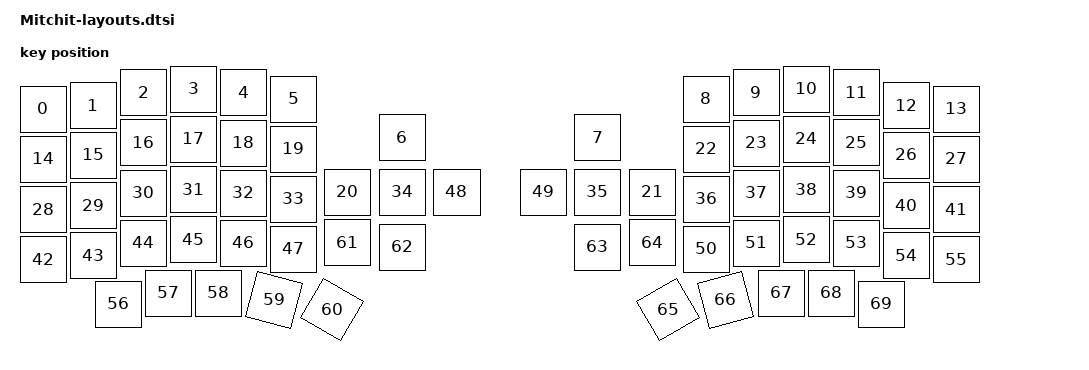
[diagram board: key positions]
#include <physical_layouts.dtsi>

/ {
    physical_layout: physical_layout_0 {
        compatible = "zmk,physical-layout";
        display-name = "Mitchit";

        // kscan = <&kscan0>;
        // transform = <&matrix_transform0>;

        studio-config {
        compatible = "zmk,studio-config";
        };

        keys  //                     w   h    x    y     rot    rx    ry
            = <&key_physical_attrs 100 100    0   40       0     0     0>
            , <&key_physical_attrs 100 100  100   33       0     0     0>
            , <&key_physical_attrs 100 100  201    7       0     0     0>
            , <&key_physical_attrs 100 100  301    0       0     0     0>
            , <&key_physical_attrs 100 100  401    7       0     0     0>
            , <&key_physical_attrs 100 100  501   20       0     0     0>
            , <&key_physical_attrs 100 100  718   97       0     0     0>
            , <&key_physical_attrs 100 100 1109   97       0     0     0>
            , <&key_physical_attrs 100 100 1326   20       0     0     0>
            , <&key_physical_attrs 100 100 1426    7       0     0     0>
            , <&key_physical_attrs 100 100 1527    0       0     0     0>
            , <&key_physical_attrs 100 100 1627    7       0     0     0>
            , <&key_physical_attrs 100 100 1727   33       0     0     0>
            , <&key_physical_attrs 100 100 1827   40       0     0     0>
            , <&key_physical_attrs 100 100    0  140       0     0     0>
            , <&key_physical_attrs 100 100  100  132       0     0     0>
            , <&key_physical_attrs 100 100  201  107       0     0     0>
            , <&key_physical_attrs 100 100  301  100       0     0     0>
            , <&key_physical_attrs 100 100  401  108       0     0     0>
            , <&key_physical_attrs 100 100  501  120       0     0     0>
            , <&key_physical_attrs 100 100  609  206       0     0     0>
            , <&key_physical_attrs 100 100 1218  206       0     0     0>
            , <&key_physical_attrs 100 100 1326  120       0     0     0>
            , <&key_physical_attrs 100 100 1426  108       0     0     0>
            , <&key_physical_attrs 100 100 1527  100       0     0     0>
            , <&key_physical_attrs 100 100 1627  107       0     0     0>
            , <&key_physical_attrs 100 100 1727  132       0     0     0>
            , <&key_physical_attrs 100 100 1827  140       0     0     0>
            , <&key_physical_attrs 100 100    0  241       0     0     0>
            , <&key_physical_attrs 100 100  100  233       0     0     0>
            , <&key_physical_attrs 100 100  201  208       0     0     0>
            , <&key_physical_attrs 100 100  301  201       0     0     0>
            , <&key_physical_attrs 100 100  401  208       0     0     0>
            , <&key_physical_attrs 100 100  501  220       0     0     0>
            , <&key_physical_attrs 100 100  718  206       0     0     0>
            , <&key_physical_attrs 100 100 1109  206       0     0     0>
            , <&key_physical_attrs 100 100 1326  220       0     0     0>
            , <&key_physical_attrs 100 100 1426  208       0     0     0>
            , <&key_physical_attrs 100 100 1527  201       0     0     0>
            , <&key_physical_attrs 100 100 1627  208       0     0     0>
            , <&key_physical_attrs 100 100 1727  233       0     0     0>
            , <&key_physical_attrs 100 100 1827  241       0     0     0>
            , <&key_physical_attrs 100 100    0  341       0     0     0>
            , <&key_physical_attrs 100 100  100  333       0     0     0>
            , <&key_physical_attrs 100 100  201  308       0     0     0>
            , <&key_physical_attrs 100 100  301  301       0     0     0>
            , <&key_physical_attrs 100 100  401  308       0     0     0>
            , <&key_physical_attrs 100 100  501  320       0     0     0>
            , <&key_physical_attrs 100 100  828  206       0     0     0>
            , <&key_physical_attrs 100 100 1000  206       0     0     0>
            , <&key_physical_attrs 100 100 1326  320       0     0     0>
            , <&key_physical_attrs 100 100 1426  308       0     0     0>
            , <&key_physical_attrs 100 100 1527  301       0     0     0>
            , <&key_physical_attrs 100 100 1627  308       0     0     0>
            , <&key_physical_attrs 100 100 1727  333       0     0     0>
            , <&key_physical_attrs 100 100 1827  341       0     0     0>
            , <&key_physical_attrs 100 100  150  430       0     0     0>
            , <&key_physical_attrs 100 100  251  408       0     0     0>
            , <&key_physical_attrs 100 100  351  408       0     0     0>
            , <&key_physical_attrs 100 100  462  422    1500   512   472>
            , <&key_physical_attrs 100 100  578  441    3000   628   491>
            , <&key_physical_attrs 100 100  609  307       0     0     0>
            , <&key_physical_attrs 100 100  718  316       0     0     0>
            , <&key_physical_attrs 100 100 1109  316       0     0     0>
            , <&key_physical_attrs 100 100 1218  307       0     0     0>
            , <&key_physical_attrs 100 100 1250  441 (-3000)  1300   491>
            , <&key_physical_attrs 100 100 1365  422 (-1500)  1415   472>
            , <&key_physical_attrs 100 100 1476  408       0     0     0>
            , <&key_physical_attrs 100 100 1577  408       0     0     0>
            , <&key_physical_attrs 100 100 1677  430       0     0     0>
            ;
    };
};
